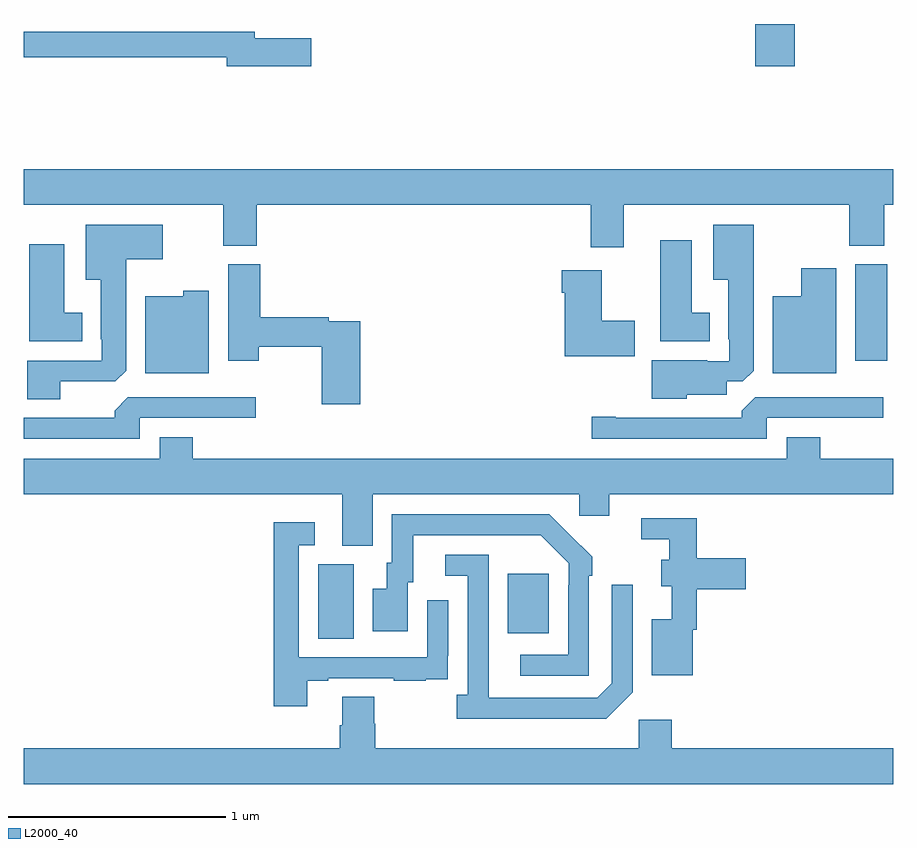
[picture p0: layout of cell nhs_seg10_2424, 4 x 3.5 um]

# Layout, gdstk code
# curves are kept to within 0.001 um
import gdstk
lib = gdstk.Library(unit=1e-6, precision=1e-09)
def R(c, l, rs):  # rectangles x0, y0, x1, y1
    for r in rs: c.add(gdstk.rectangle(r[:2], r[2:], *l))
def P(c, l, *ps):  # polygons
    for p in ps: c.add(gdstk.Polygon(p, *l))
L2000_40 = (2000, 40)

nhs_seg10_2424 = lib.new_cell('nhs_seg10_2424')
R(nhs_seg10_2424, L2000_40, [(242.354,1279.672,242.518,1280.016), (243.227,1279.697,243.415,1279.972), (244.826,1280.952,244.973,1281.396), (244.364,1282.305,244.547,1282.5)])
P(nhs_seg10_2424, L2000_40, [(242.323,1282.435),(242.062,1282.435),(242.062,1282.464),(241,1282.464),(241,1282.348),(241.934,1282.348),(241.934,1282.306),(242.323,1282.306)],
  [(243.76,1281.668),(244.798,1281.668),(244.798,1281.481),(244.958,1281.481),(244.958,1281.668),(245,1281.668),(245,1281.832),(241,1281.832),(241,1281.668),(241.919,1281.668),(241.919,1281.481),(242.072,1281.481),(242.072,1281.668),(243.608,1281.668),(243.608,1281.474),(243.76,1281.474)],
  [(241.168,1280.856),(241.422,1280.856),(241.471,1280.905),(241.471,1281.419),(241.639,1281.419),(241.639,1281.577),(241.286,1281.577),(241.286,1281.323),(241.355,1281.323),(241.355,1281.049),(241.359,1281.049),(241.359,1280.952),(241.016,1280.952),(241.016,1280.773),(241.168,1280.773)],
  [(244.05,1280.795),(244.234,1280.795),(244.234,1280.856),(244.308,1280.856),(244.357,1280.905),(244.357,1281.577),(244.172,1281.577),(244.172,1281.323),(244.241,1281.323),(244.241,1281.049),(244.245,1281.049),(244.245,1280.949),(244.145,1280.949),(244.145,1280.953),(243.89,1280.953),(243.89,1280.777),(244.05,1280.777)],
  [(244.156,1281.172),(244.072,1281.172),(244.072,1281.505),(243.929,1281.505),(243.929,1281.041),(244.156,1281.041)],
  [(241.27,1281.172),(241.186,1281.172),(241.186,1281.487),(241.025,1281.487),(241.025,1281.041),(241.27,1281.041)],
  [(242.549,1281.132),(242.402,1281.132),(242.402,1281.152),(242.087,1281.152),(242.087,1281.396),(241.94,1281.396),(241.94,1280.952),(242.082,1280.952),(242.082,1281.016),(242.371,1281.016),(242.371,1280.751),(242.549,1280.751)],
  [(244.738,1281.376),(244.577,1281.376),(244.577,1281.247),(244.445,1281.247),(244.445,1280.894),(244.738,1280.894)],
  [(243.811,1281.135),(243.658,1281.135),(243.658,1281.367),(243.476,1281.367),(243.476,1281.263),(243.488,1281.263),(243.488,1280.972),(243.811,1280.972)],
  [(241.852,1281.274),(241.734,1281.274),(241.734,1281.247),(241.559,1281.247),(241.559,1280.894),(241.852,1280.894)],
  [(244.419,1280.688),(244.954,1280.688),(244.954,1280.784),(244.365,1280.784),(244.304,1280.722),(244.304,1280.688),(243.724,1280.688),(243.724,1280.693),(243.612,1280.693),(243.612,1280.592),(244.419,1280.592)],
  [(241.533,1280.688),(242.068,1280.688),(242.068,1280.784),(241.479,1280.784),(241.418,1280.722),(241.418,1280.688),(241,1280.688),(241,1280.592),(241.533,1280.592)],
  [(242.605,1280.336),(243.555,1280.336),(243.555,1280.238),(243.694,1280.238),(243.694,1280.336),(245,1280.336),(245,1280.5),(244.664,1280.5),(244.664,1280.599),(244.511,1280.599),(244.511,1280.5),(241.778,1280.5),(241.778,1280.599),(241.625,1280.599),(241.625,1280.5),(241,1280.5),(241,1280.336),(242.465,1280.336),(242.465,1280.101),(242.605,1280.101)],
  [(243.6,1279.961),(243.615,1279.961),(243.615,1280.049),(243.418,1280.244),(242.694,1280.244),(242.694,1280.022),(242.669,1280.022),(242.669,1279.903),(242.606,1279.903),(242.606,1279.707),(242.767,1279.707),(242.767,1279.932),(242.791,1279.932),(242.791,1280.148),(243.379,1280.148),(243.507,1280.019),(243.507,1279.919),(243.504,1279.919),(243.504,1279.599),(243.285,1279.599),(243.285,1279.503),(243.6,1279.503)],
  [(244.078,1279.713),(244.097,1279.713),(244.097,1279.901),(244.321,1279.901),(244.321,1280.043),(244.097,1280.043),(244.097,1280.226),(243.84,1280.226),(243.84,1280.13),(243.969,1280.13),(243.969,1280.035),(243.932,1280.035),(243.932,1279.913),(243.98,1279.913),(243.98,1279.762),(243.89,1279.762),(243.89,1279.505),(244.078,1279.505)],
  [(242.305,1279.479),(242.401,1279.479),(242.401,1279.491),(242.701,1279.491),(242.701,1279.479),(242.849,1279.479),(242.849,1279.485),(242.951,1279.485),(242.951,1279.594),(242.952,1279.594),(242.952,1279.849),(242.856,1279.849),(242.856,1279.587),(242.265,1279.587),(242.265,1280.103),(242.338,1280.103),(242.338,1280.209),(242.149,1280.209),(242.149,1279.362),(242.305,1279.362)],
  [(243.801,1279.425),(243.801,1279.921),(243.705,1279.921),(243.705,1279.467),(243.639,1279.401),(243.139,1279.401),(243.138,1280.058),(242.94,1280.058),(242.94,1279.962),(243.042,1279.962),(243.042,1279.414),(242.991,1279.414),(242.991,1279.304),(243.68,1279.304)],
  [(245,1279.168),(243.98,1279.168),(243.98,1279.3),(243.828,1279.3),(243.828,1279.168),(242.618,1279.168),(242.618,1279.281),(242.613,1279.281),(242.613,1279.406),(242.465,1279.406),(242.465,1279.274),(242.453,1279.274),(242.453,1279.168),(241,1279.168),(241,1279.004),(245,1279.004)])

lib.write_gds('nhs_seg10_2424.gds')
